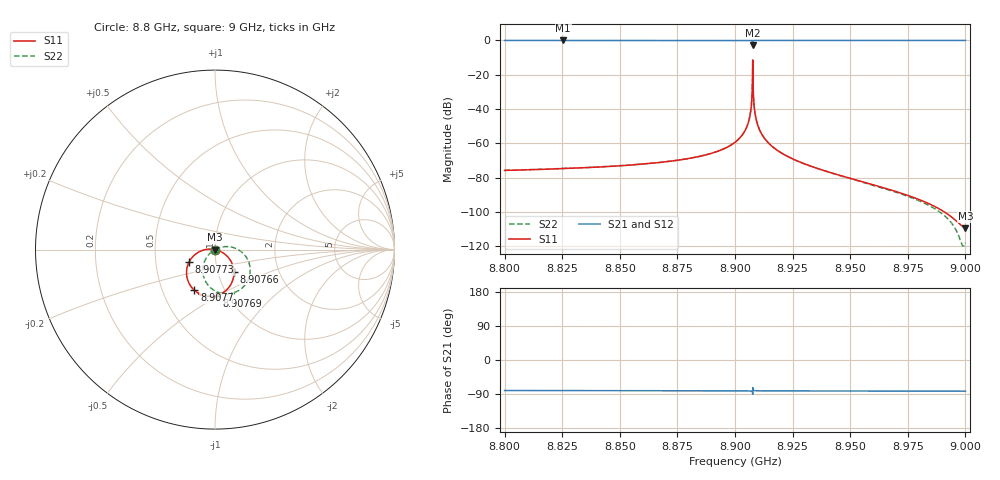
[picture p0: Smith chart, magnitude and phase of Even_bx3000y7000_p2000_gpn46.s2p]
! Sonnet Data File
! From: emgraph Version : 16.52
! From Project: Resonator2_cp_cp
! Data is De-embedded
! Data File Written: 10/06/2017 09:20:31
!< HDATE 10/05/2017 21:11:40
!< MDATE 10/05/2017 21:11:40
!< PARAMS
!< gap = 46.0
!< Length = 400.0
!< Pwid1 = 2000.0
!< Pwid2 = 2000.0
!< END PARAMS
# GHZ S MA R 51.80000
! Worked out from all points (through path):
!   1596 points, 8.8 GHz to 9 GHz, reference 51.8 ohm
!   highest |S21| = 0.00 dB at 8.8254 GHz (marker M1); lowest = -2.7 dB at 8.9077 GHz (marker M2)
!   group delay of S21, straight-line fit = 24.9 ps
!   lowest |S11| = -109.5 dB at 9 GHz (marker M3), VSWR 1.00, Z = 51.8 + j0.000346 ohm
!   |S11| at or under -10 dB: start of sweep to end of sweep
!   |S22| runs from -120.0 to -11.4 dB; largest |S21 - S12| = 0
!   S11 on the Smith chart (normalised r, x): 8.8 GHz: 1.00, -0.00; 8.90766 GHz: 1.19, -0.30; 8.90769 GHz: 0.89, -0.49; 8.9077 GHz: 0.72, -0.35; 8.90773 GHz: 0.74, -0.10; 9 GHz: 1.00, +0.00
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8.8  0.000162 -8.1  1 -80.5  1 -80.5  0.0001634 28.6
!< P1 F=8.8 Eeff=(6.44679989 -2.9721e-5) Z0=(51.7992624 1.19519e-4) R=0.0 C=0.0
!< P2 F=8.8 Eeff=(6.44679989 -2.9721e-5) Z0=(51.7992624 1.19519e-4) R=0.0 C=0.0
8.8254  0.0001826 -8.8  1 -80.7  1 -80.7  0.0001841 28.6
8.8334  0.0001922 -9.0  1 -80.8  1 -80.8  0.0001936 28.7
8.8668  0.0002736 -10.2  1 -81.1  1 -81.1  0.0002751 28.8
8.9  0.00107 -11.7  1 -81.5  1 -81.5  0.001071 28.7
8.906195  0.005121 -12.9  0.9999 -81.8  0.9999 -81.8  0.005123 27.8
8.907287  0.01848 -15.8  0.9989 -82.5  0.9989 -82.5  0.01848 25.0
8.90753  0.04467 -21.4  0.9936 -84.0  0.9936 -84.0  0.04467 19.4
8.907659  0.1617 -49.3  0.9107 -89.6  0.9107 -89.6  0.1617 -8.6
8.907688  0.2563 -88.3  0.7533 -86.1  0.7533 -86.1  0.2564 -47.5
8.9077  0.2681 -107.1  0.7334 -79.6  0.7334 -79.6  0.2681 -66.3
8.907703  0.2542 -116.8  0.7571 -76.5  0.7571 -76.5  0.2542 -76.0
8.907733  0.1587 -154.8  0.9131 -73.5  0.9131 -73.5  0.1587 -114.0
8.907832  0.05412 179.9  0.9903 -78.4  0.9903 -78.4  0.05412 -139.3
8.908  0.02472 173.5  0.998 -80.1  0.998 -80.1  0.02472 -145.7
8.908612  0.008176 169.8  0.9998 -81.0  0.9998 -81.0  0.008175 -149.3
8.911839  0.001741 168.3  1 -81.4  1 -81.4  0.001739 -150.7
8.9198  0.0005399 167.6  1 -81.6  1 -81.6  0.0005383 -151.0
8.9334  0.0002098 166.7  1 -81.7  1 -81.7  0.0002082 -151.1
8.9486  0.0001013 165.3  1 -81.8  1 -81.8  9.958e-05 -151.3
8.9668  4.534e-05 162.5  1 -82.0  1 -82.0  4.357e-05 -151.9
9  3.338e-06 91.9  1 -82.3  1 -82.3  1.267e-06 81.7
